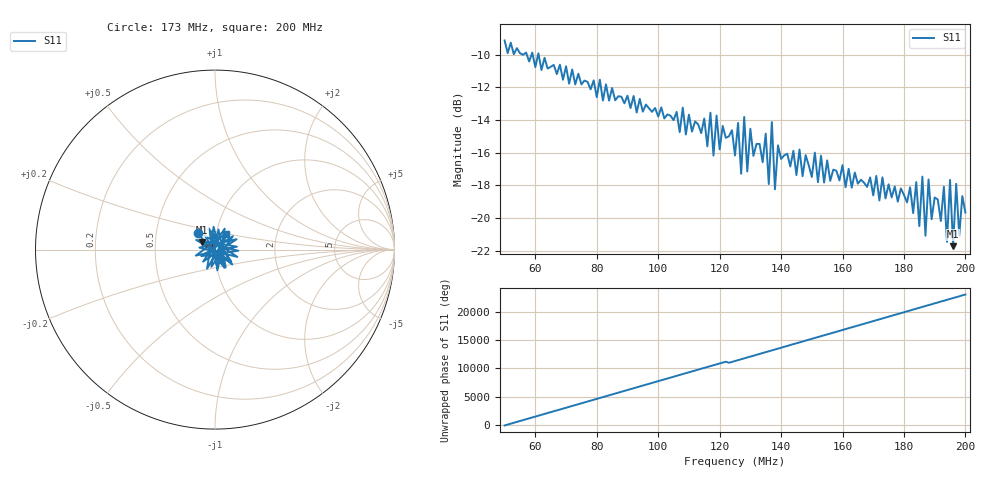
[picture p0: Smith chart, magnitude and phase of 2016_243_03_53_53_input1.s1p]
!Agilent N9923A: A.07.32
!Date: Tuesday, 30 August 2016 11:27:29
!Model: N9923A
!Serial: MY52412305
!GPS Latitude:
!GPS Longitude:
!GPS TimeStamp: 0001-01-01 00:00:00Z
!GPS Seconds Since Last Read: 0
!CHECKSUM:0467744184
!Correction: S11(Rdy)
!S1P File: Measurement: S11:
# Hz S DB R 50
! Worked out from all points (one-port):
!   151 points, 50 MHz to 200 MHz, reference 50 ohm
!   lowest |S11| = -21.7 dB at 196 MHz (marker M1), VSWR 1.18, Z = 43.2 + j3.56 ohm
!   |S11| at or under -10 dB: 55.88187 MHz to 56.08269 MHz (200.8 kHz wide, 0.359 % of centre); 57.23 MHz to 58.78 MHz (1.552 MHz wide, 2.68 % of centre); 61.08 MHz to end of sweep (the widest 3 of 4)
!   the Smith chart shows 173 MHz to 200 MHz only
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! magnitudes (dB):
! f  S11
! 50 MHz  -9.1
! 69 MHz  -11.5
! 88 MHz  -12.6
! 107 MHz  -14.7
! 125 MHz  -16.2
! 126 MHz  -14.2
! 127 MHz  -17.3
! 128 MHz  -13.8
! 129 MHz  -17.2
! 130 MHz  -14.5
! 136 MHz  -17.9
! 137 MHz  -14.1
! 138 MHz  -18.2
! 144 MHz  -15.9
! 163 MHz  -18.1
! 182 MHz  -18.1
! 185 MHz  -20.5
! 186 MHz  -17.5
! 187 MHz  -21.1
! 188 MHz  -17.6
! 189 MHz  -20.1
! 193 MHz  -18.1
! 194 MHz  -21.5
! 195 MHz  -17.7
! 196 MHz  -21.7
! 197 MHz  -17.9
! 198 MHz  -21.1
! 200 MHz  -19.7
